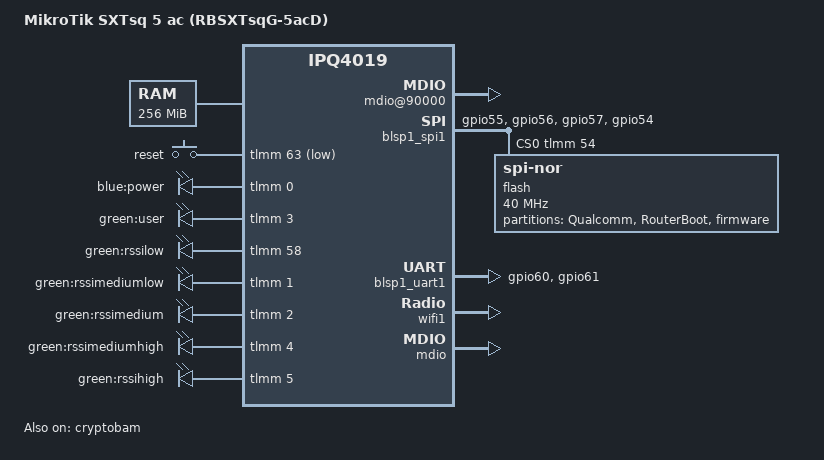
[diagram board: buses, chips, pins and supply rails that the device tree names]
// SPDX-License-Identifier: GPL-2.0-or-later OR MIT
/* Copyright (c) 2020, Robert Marko <robimarko@gmail.com> */

#include "qcom-ipq4019.dtsi"
#include <dt-bindings/gpio/gpio.h>
#include <dt-bindings/input/input.h>
#include <dt-bindings/soc/qcom,tcsr.h>

/ {
	model = "MikroTik SXTsq 5 ac (RBSXTsqG-5acD)";
	compatible = "mikrotik,sxtsq-5-ac";

	memory {
		device_type = "memory";
		reg = <0x80000000 0x10000000>;
	};

	chosen {
		stdout-path = "serial0:115200n8";
	};

	aliases {
		led-boot = &led_user;
		led-failsafe = &led_user;
		led-running = &led_user;
		led-upgrade = &led_user;
	};

	soc {
		rng@22000 {
			status = "okay";
		};

		mdio@90000 {
			status = "okay";
		};

		counter@4a1000 {
			compatible = "qcom,qca-gcnt";
			reg = <0x4a1000 0x4>;
		};

		tcsr@1949000 {
			compatible = "qcom,tcsr";
			reg = <0x1949000 0x100>;
			qcom,wifi_glb_cfg = <TCSR_WIFI_GLB_CFG>;
		};

		ess_tcsr@1953000 {
			compatible = "qcom,tcsr";
			reg = <0x1953000 0x1000>;
			qcom,ess-interface-select = <TCSR_ESS_PSGMII>;
		};

		tcsr@1957000 {
			compatible = "qcom,tcsr";
			reg = <0x1957000 0x100>;
			qcom,wifi_noc_memtype_m0_m2 = <TCSR_WIFI_NOC_MEMTYPE_M0_M2>;
		};

		crypto@8e3a000 {
			status = "okay";
		};

		watchdog@b017000 {
			status = "okay";
		};

		ess-psgmii@98000 {
			status = "okay";
		};

		edma@c080000 {
			status = "okay";
			phy-mode = "rgmii";
			qcom,num_gmac = <1>;
			qcom,single-phy;
		};
	};

	keys {
		compatible = "gpio-keys";

		reset {
			label = "reset";
			gpios = <&tlmm 63 GPIO_ACTIVE_LOW>;
			linux,code = <KEY_RESTART>;
		};
	};

	leds {
		compatible = "gpio-leds";

		power {
			label = "blue:power";
			gpios = <&tlmm 0 GPIO_ACTIVE_HIGH>;
			default-state = "keep";
			panic-indicator;
		};

		led_user: user {
			label = "green:user";
			gpios = <&tlmm 3 GPIO_ACTIVE_HIGH>;
		};

		rssilow {
			label = "green:rssilow";
			gpios = <&tlmm 58 GPIO_ACTIVE_HIGH>;
		};

		rssimediumlow {
			label = "green:rssimediumlow";
			gpios = <&tlmm 1 GPIO_ACTIVE_HIGH>;
		};

		rssimedium {
			label = "green:rssimedium";
			gpios = <&tlmm 2 GPIO_ACTIVE_HIGH>;
		};

		rssimediumhigh {
			label = "green:rssimediumhigh";
			gpios = <&tlmm 4 GPIO_ACTIVE_HIGH>;
		};

		rssihigh {
			label = "green:rssihigh";
			gpios = <&tlmm 5 GPIO_ACTIVE_HIGH>;
		};
	};
};

&tlmm {
	serial_pins: serial_pinmux {
		mux {
			pins = "gpio60", "gpio61";
			function = "blsp_uart0";
			bias-disable;
		};
	};

	spi_0_pins: spi_0_pinmux {
		pin {
			function = "blsp_spi0";
			pins = "gpio55", "gpio56", "gpio57";
			drive-strength = <2>;
			bias-disable;
		};
		pin_cs {
			function = "gpio";
			pins = "gpio54";
			drive-strength = <2>;
			bias-disable;
			output-high;
		};
	};
};

&blsp_dma {
	status = "okay";
};

&blsp1_spi1 {
	status = "okay";

	pinctrl-0 = <&spi_0_pins>;
	pinctrl-names = "default";
	cs-gpios = <&tlmm 54 GPIO_ACTIVE_HIGH>;

	flash@0 {
		reg = <0>;
		compatible = "jedec,spi-nor";
		spi-max-frequency = <40000000>;

		partitions {
			compatible = "fixed-partitions";
			#address-cells = <1>;
			#size-cells = <1>;

			partition@0 {
				label = "Qualcomm";
				reg = <0x0 0x80000>;
				read-only;
			};

			partition@80000 {
				compatible = "mikrotik,routerboot-partitions";
				#address-cells = <1>;
				#size-cells = <1>;
				label = "RouterBoot";
				reg = <0x80000 0x80000>;
				read-only;

				hard_config {
					read-only;
				};

				dtb_config {
					read-only;
				};

				soft_config {
				};
			};

			partition@100000 {
				compatible = "mikrotik,minor";
				label = "firmware";
				reg = <0x100000 0xf00000>;
			};
		};
	};
};

&blsp1_uart1 {
	status = "okay";

	pinctrl-0 = <&serial_pins>;
	pinctrl-names = "default";
};

&cryptobam {
	status = "okay";
};

&wifi1 {
	status = "okay";

	qcom,ath10k-calibration-variant = "MikroTik-SXTsq-5-ac";
};

&gmac0 {
	qcom,phy_mdio_addr = <4>;
	qcom,poll_required = <1>;
	qcom,forced_speed = <1000>;
	qcom,forced_duplex = <1>;
	vlan_tag = <1 0x20>;
};

&mdio {
	status = "okay";
};
